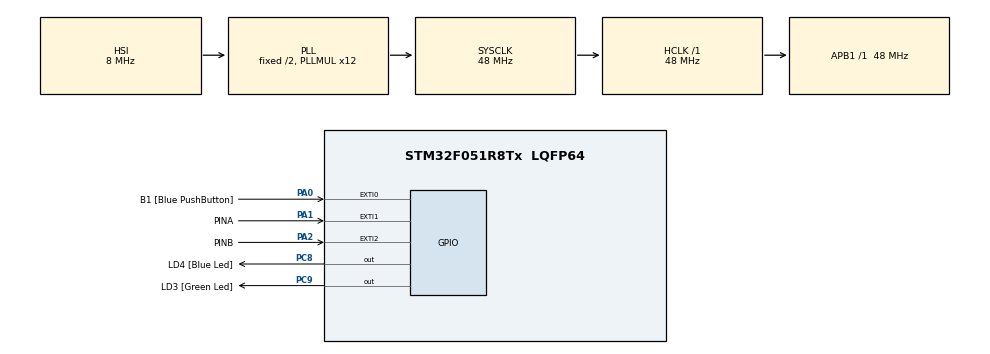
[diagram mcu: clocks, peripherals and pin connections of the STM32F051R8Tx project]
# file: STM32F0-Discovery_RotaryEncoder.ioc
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Mcu.Family=STM32F0
Mcu.Name=STM32F051R8Tx
Mcu.Package=LQFP64
NVIC.EXTI0_1_IRQn=true\:0\:0\:false\:false\:true\:true
NVIC.EXTI2_3_IRQn=true\:0\:0\:false\:false\:true\:true
PA0.GPIO_Label=B1 [Blue PushButton]
PA0.GPIO_ModeDefaultEXTI=GPIO_MODE_EVT_RISING
PA0.Signal=GPXTI0
PA1.GPIO_Label=PINA
PA1.Signal=GPXTI1
PA13.GPIO_Label=SWDIO
PA13.Signal=SYS_SWDIO
PA14.GPIO_Label=SWCLK
PA14.Signal=SYS_SWCLK
PA2.GPIO_Label=PINB
PA2.Signal=GPXTI2
PC8.GPIO_Label=LD4 [Blue Led]
PC8.Signal=GPIO_Output
PC9.GPIO_Label=LD3 [Green Led]
PC9.Signal=GPIO_Output
ProjectManager.HeapSize=0x200
ProjectManager.StackSize=0x400
ProjectManager.TargetToolchain=MDK-ARM V5
RCC.AHBFreq_Value=48000000
RCC.APB1Freq_Value=48000000
RCC.APB1TimFreq_Value=48000000
RCC.HCLKFreq_Value=48000000
RCC.PLLMUL=RCC_PLL_MUL12
RCC.SYSCLKFreq_VALUE=48000000
RCC.SYSCLKSource=RCC_SYSCLKSOURCE_PLLCLK
board=STM32F0DISCOVERY

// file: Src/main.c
/**
  ******************************************************************************
  * File Name          : main.c
  * Description        : Main program body
  ******************************************************************************
  ** This notice applies to any and all portions of this file
  * that are not between comment pairs USER CODE BEGIN and
  * USER CODE END. Other portions of this file, whether
  * inserted by the user or by software development tools
  * are owned by their respective copyright owners.
  *
  * COPYRIGHT(c) 2018 STMicroelectronics
  *
  * Redistribution and use in source and binary forms, with or without modification,
  * are permitted provided that the following conditions are met:
  *   1. Redistributions of source code must retain the above copyright notice,
  *      this list of conditions and the following disclaimer.
  *   2. Redistributions in binary form must reproduce the above copyright notice,
  *      this list of conditions and the following disclaimer in the documentation
  *      and/or other materials provided with the distribution.
  *   3. Neither the name of STMicroelectronics nor the names of its contributors
  *      may be used to endorse or promote products derived from this software
  *      without specific prior written permission.
  *
  * THIS SOFTWARE IS PROVIDED BY THE COPYRIGHT HOLDERS AND CONTRIBUTORS "AS IS"
  * AND ANY EXPRESS OR IMPLIED WARRANTIES, INCLUDING, BUT NOT LIMITED TO, THE
  * IMPLIED WARRANTIES OF MERCHANTABILITY AND FITNESS FOR A PARTICULAR PURPOSE ARE
  * DISCLAIMED. IN NO EVENT SHALL THE COPYRIGHT HOLDER OR CONTRIBUTORS BE LIABLE
  * FOR ANY DIRECT, INDIRECT, INCIDENTAL, SPECIAL, EXEMPLARY, OR CONSEQUENTIAL
  * DAMAGES (INCLUDING, BUT NOT LIMITED TO, PROCUREMENT OF SUBSTITUTE GOODS OR
  * SERVICES; LOSS OF USE, DATA, OR PROFITS; OR BUSINESS INTERRUPTION) HOWEVER
  * CAUSED AND ON ANY THEORY OF LIABILITY, WHETHER IN CONTRACT, STRICT LIABILITY,
  * OR TORT (INCLUDING NEGLIGENCE OR OTHERWISE) ARISING IN ANY WAY OUT OF THE USE
  * OF THIS SOFTWARE, EVEN IF ADVISED OF THE POSSIBILITY OF SUCH DAMAGE.
  *
  ******************************************************************************
  */

#include "main.h"
#include "stm32f0xx_hal.h"

/* USER CODE BEGIN PV */
/* Private variables ---------------------------------------------------------*/
int blink_period = 250;
static int8_t states[] = {0,-1,1,0,1,0,0,-1,-1,0,0,1,0,1,-1,0};
uint8_t RotaryCurrentState = 0x00;
uint8_t RotaryTransition = 0;
int8_t RotaryPosition = 0;
volatile int enc_cnt;

/* USER CODE END PV */

void SystemClock_Config(void);
static void MX_GPIO_Init(void);

/* USER CODE BEGIN PFP */
/* Private function prototypes -----------------------------------------------*/
void rotary_encoder_update(void);
/* USER CODE END PFP */

int main(void)
{

  /* MCU Configuration----------------------------------------------------------*/

  /* Reset of all peripherals, Initializes the Flash interface and the Systick. */
  HAL_Init();

  /* Configure the system clock */
  SystemClock_Config();

  /* Initialize all configured peripherals */
  MX_GPIO_Init();

  /* Infinite loop */
  while (1)
  {

  /* USER CODE BEGIN 3 */
		HAL_GPIO_TogglePin(GPIOC,GPIO_PIN_8);
		HAL_Delay(blink_period);

  /* USER CODE END 3 */
	}

}

/** System Clock Configuration
*/
void SystemClock_Config(void)
{

  RCC_OscInitTypeDef RCC_OscInitStruct;
  RCC_ClkInitTypeDef RCC_ClkInitStruct;

    /**Initializes the CPU, AHB and APB busses clocks
    */
  RCC_OscInitStruct.OscillatorType = RCC_OSCILLATORTYPE_HSI;
  RCC_OscInitStruct.HSIState = RCC_HSI_ON;
  RCC_OscInitStruct.HSICalibrationValue = 16;
  RCC_OscInitStruct.PLL.PLLState = RCC_PLL_ON;
  RCC_OscInitStruct.PLL.PLLSource = RCC_PLLSOURCE_HSI;
  RCC_OscInitStruct.PLL.PLLMUL = RCC_PLL_MUL12;
  RCC_OscInitStruct.PLL.PREDIV = RCC_PREDIV_DIV1;
  if (HAL_RCC_OscConfig(&RCC_OscInitStruct) != HAL_OK)
  {
    _Error_Handler(__FILE__, __LINE__);
  }

    /**Initializes the CPU, AHB and APB busses clocks
    */
  RCC_ClkInitStruct.ClockType = RCC_CLOCKTYPE_HCLK|RCC_CLOCKTYPE_SYSCLK
                              |RCC_CLOCKTYPE_PCLK1;
  RCC_ClkInitStruct.SYSCLKSource = RCC_SYSCLKSOURCE_PLLCLK;
  RCC_ClkInitStruct.AHBCLKDivider = RCC_SYSCLK_DIV1;
  RCC_ClkInitStruct.APB1CLKDivider = RCC_HCLK_DIV1;

  if (HAL_RCC_ClockConfig(&RCC_ClkInitStruct, FLASH_LATENCY_1) != HAL_OK)
  {
    _Error_Handler(__FILE__, __LINE__);
  }

    /**Configure the Systick interrupt time
    */
  HAL_SYSTICK_Config(HAL_RCC_GetHCLKFreq()/1000);

    /**Configure the Systick
    */
  HAL_SYSTICK_CLKSourceConfig(SYSTICK_CLKSOURCE_HCLK);

  /* SysTick_IRQn interrupt configuration */
  HAL_NVIC_SetPriority(SysTick_IRQn, 0, 0);
}

/** Configure pins as
        * Analog
        * Input
        * Output
        * EVENT_OUT
        * EXTI
*/
static void MX_GPIO_Init(void)
{

  GPIO_InitTypeDef GPIO_InitStruct;

  /* GPIO Ports Clock Enable */
  __HAL_RCC_GPIOA_CLK_ENABLE();
  __HAL_RCC_GPIOC_CLK_ENABLE();

  /*Configure GPIO pin Output Level */
  HAL_GPIO_WritePin(GPIOC, LD4_Pin|LD3_Pin, GPIO_PIN_RESET);

  /*Configure GPIO pin : B1_Pin */
  GPIO_InitStruct.Pin = B1_Pin;
  GPIO_InitStruct.Mode = GPIO_MODE_IT_RISING;//GPIO_MODE_IT_RISING_FALLING;
  GPIO_InitStruct.Pull = GPIO_NOPULL;
  HAL_GPIO_Init(B1_GPIO_Port, &GPIO_InitStruct);

  /*Configure GPIO pin : PinA_Pin */
  GPIO_InitStruct.Pin = PINA_Pin;
  GPIO_InitStruct.Mode = GPIO_MODE_IT_RISING;//GPIO_MODE_IT_RISING_FALLING;
  GPIO_InitStruct.Pull = GPIO_PULLUP;
  HAL_GPIO_Init(PINA_GPIO_Port, &GPIO_InitStruct);

  /*Configure GPIO pin : PinB_Pin */
  GPIO_InitStruct.Pin = PINB_Pin;
  GPIO_InitStruct.Mode = GPIO_MODE_IT_RISING;
  GPIO_InitStruct.Pull = GPIO_PULLUP;
  HAL_GPIO_Init(PINB_GPIO_Port, &GPIO_InitStruct);

  /*Configure GPIO pins : LD4_Pin LD3_Pin */
  GPIO_InitStruct.Pin = LD4_Pin|LD3_Pin;
  GPIO_InitStruct.Mode = GPIO_MODE_OUTPUT_PP;
  GPIO_InitStruct.Pull = GPIO_NOPULL;
  GPIO_InitStruct.Speed = GPIO_SPEED_FREQ_LOW;
  HAL_GPIO_Init(GPIOC, &GPIO_InitStruct);

  /* EXTI interrupt init*/
  HAL_NVIC_SetPriority(EXTI0_1_IRQn, 0, 0);
  HAL_NVIC_EnableIRQ(EXTI0_1_IRQn);

  HAL_NVIC_SetPriority(EXTI2_3_IRQn, 0, 0);
  HAL_NVIC_EnableIRQ(EXTI2_3_IRQn);

}

/* USER CODE BEGIN 4 */
void HAL_GPIO_EXTI_Callback(uint16_t GPIO_Pin)
{
  if(GPIO_Pin == GPIO_PIN_0)
  {
    if (blink_period == 1000)
    {
      blink_period = 250;
    }
    else
    {
      blink_period = 1000;
    }
  }
	//Channel B Interrupt
	if(GPIO_Pin == GPIO_PIN_1)
	{

	}
	//Channel A Interrupt
	if(GPIO_Pin == GPIO_PIN_2)
	{
		rotary_encoder_update();
	}
}
void rotary_encoder_update()
{
    // When falling edge interrupt triggered by pin A of rotary encoder,
    // then read pin B of rotary encoder (1x resolution)
    if ((GPIOA->IDR & GPIO_PIN_1))
    {
        enc_cnt++;
    }
    else
    {
        enc_cnt--;
    }
    // Set max and min value
    if (enc_cnt > 80)
    {
        enc_cnt = 80;
    }
    if (enc_cnt < 0)
    {
        enc_cnt = 0;
    }

}

/* USER CODE END 4 */

void _Error_Handler(char * file, int line)
{
  while(1)
  {
  }
}

/************************ (C) COPYRIGHT STMicroelectronics *****END OF FILE****/
